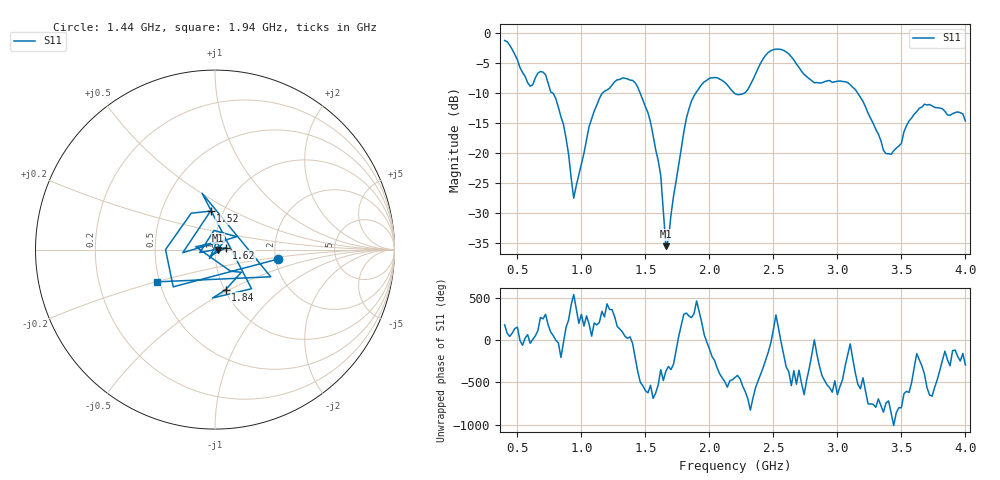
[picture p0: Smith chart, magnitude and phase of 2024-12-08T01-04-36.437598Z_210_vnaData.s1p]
!Created with skrf (http://scikit-rf.org).
# Hz S RI R 50.0
!freq ReS11 ImS11
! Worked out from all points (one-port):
!   181 points, 400 MHz to 4 GHz, reference 50 ohm
!   lowest |S11| = -35.5 dB at 1.66 GHz (marker M1), VSWR 1.03, Z = 51.7 - j0.194 ohm
!   |S11| at or under -10 dB: 771.1 MHz to 1.168 GHz (396.7 MHz wide, 40.9 % of centre); 1.458 GHz to 1.895 GHz (437.5 MHz wide, 26.1 % of centre); 3.157 GHz to end of sweep (the widest 3 of 4)
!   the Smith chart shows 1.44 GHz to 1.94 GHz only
!   S11 on the Smith chart (normalised r, x): 1.44 GHz: 2.05, -0.25; 1.52 GHz: 0.87, +0.39; 1.62 GHz: 1.14, +0.03; 1.84 GHz: 1.01, -0.48; 1.94 GHz: 0.48, -0.20
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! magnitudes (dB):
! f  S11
! 400 MHz  -1.3
! 600 MHz  -8.9
! 720 MHz  -7.0
! 860 MHz  -15.3
! 940 MHz  -27.5
! 1.1 GHz  -13.1
! 1.16 GHz  -10.2
! 1.3 GHz  -7.8
! 1.44 GHz  -9.1
! 1.52 GHz  -13.3
! 1.62 GHz  -23.8
! 1.66 GHz  -35.5
! 1.68 GHz  -34.4
! 1.76 GHz  -22.0
! 1.84 GHz  -12.7
! 1.94 GHz  -8.6
! 2.06 GHz  -7.5
! 2.2 GHz  -10.2
! 2.3 GHz  -9.5
! 2.48 GHz  -3.0
! 2.66 GHz  -4.6
! 2.82 GHz  -8.3
! 3.1 GHz  -8.7
! 3.38 GHz  -20.1
! 3.5 GHz  -18.4
! 3.56 GHz  -14.7
! 3.68 GHz  -11.9
! 4 GHz  -14.7
